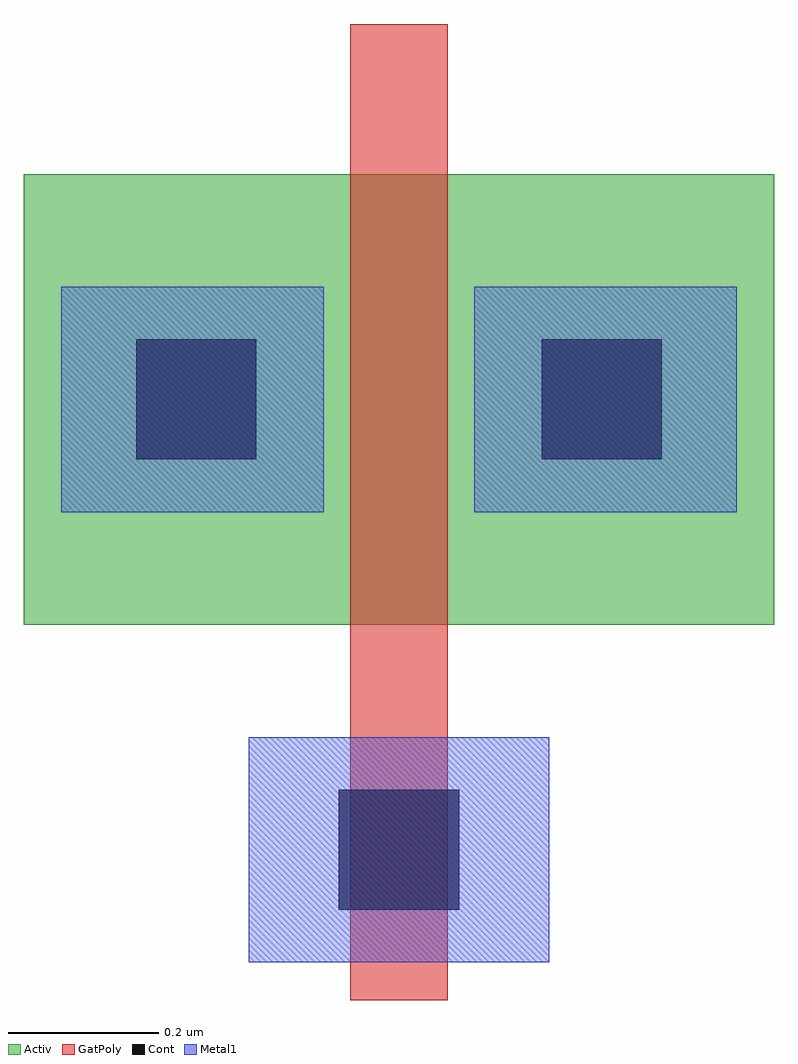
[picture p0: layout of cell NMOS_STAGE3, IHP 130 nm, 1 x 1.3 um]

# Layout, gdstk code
import gdstk
lib = gdstk.Library(unit=1e-6, precision=1e-09)
def R(c, l, rs):  # rectangles x0, y0, x1, y1
    for r in rs: c.add(gdstk.rectangle(r[:2], r[2:], *l))
Activ = (1, 0)
GatPoly = (5, 0)
Cont = (6, 0)
Metal1 = (8, 0)

nmos_stage3 = lib.new_cell('NMOS_STAGE3')
R(nmos_stage3, Activ, [(0,0,1,0.6)])
R(nmos_stage3, GatPoly, [(0.435,-0.5,0.565,0.8)])
R(nmos_stage3, Cont, [(0.42,-0.38,0.58,-0.22), (0.15,0.22,0.31,0.38), (0.69,0.22,0.85,0.38)])
R(nmos_stage3, Metal1, [(0.3,-0.45,0.7,-0.15), (0.05,0.15,0.4,0.45), (0.6,0.15,0.95,0.45)])

lib.write_gds('NMOS_STAGE3.gds')
